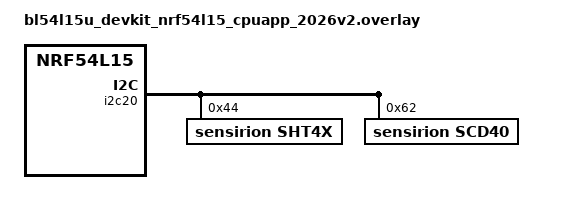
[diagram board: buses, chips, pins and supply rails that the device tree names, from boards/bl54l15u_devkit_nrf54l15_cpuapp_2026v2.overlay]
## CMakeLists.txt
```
cmake_minimum_required(VERSION 3.20.0)
list(APPEND BOARD_ROOT ${CMAKE_CURRENT_SOURCE_DIR}/..)
find_package(Zephyr HINTS $ENV{ZEPHYR_BASE})
project(airhub)

option(TIDY "Run clang-tidy during build" OFF)
if(TIDY)
  set_target_properties(app PROPERTIES
    C_CLANG_TIDY "clang-tidy"
    CXX_CLANG_TIDY "clang-tidy"
  )
endif()

target_include_directories(app PRIVATE src src/sensor)

target_sources(app PRIVATE
  src/main.cpp
  src/sensor/sensor_reading.cpp
)
```

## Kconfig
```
config APP_MEASUREMENT_INTERVAL_SEC
	int "Measurement interval (seconds)"
	default 30
	help
	  Time between periodic measurements. Device sleeps between readings.

source "Kconfig.zephyr"
```

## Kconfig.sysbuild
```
#### Bootloader
choice BOOTLOADER
	default BOOTLOADER_MCUBOOT
endchoice

if BOOTLOADER_MCUBOOT

config PM_OVERRIDE_EXTERNAL_DRIVER_CHECK
	default y

# MCUboot padding size
config PM_MCUBOOT_PAD
	default 0x800

endif # BOOTLOADER_MCUBOOT

source "share/sysbuild/Kconfig"
```

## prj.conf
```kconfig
# Application features
CONFIG_APP_MEASUREMENT_INTERVAL_SEC=30

# BLE
CONFIG_BT=y
CONFIG_BT_DEVICE_NAME="AirHub"
CONFIG_BT_PERIPHERAL=y

# PMIC support (nPM1304 on devkit)
CONFIG_MFD=y
CONFIG_REGULATOR=y

# Enable sensors and I2C bus
CONFIG_SENSOR=y
CONFIG_GPIO=y
CONFIG_I2C=y
CONFIG_SHT4X=y
CONFIG_SCD4X=y
CONFIG_FPU=y

# GRTC timer
CONFIG_NRF_GRTC_TIMER=y

# Suspend devices when the CPU goes into sleep
CONFIG_PM=y
CONFIG_PM_DEVICE=y
CONFIG_PM_DEVICE_RUNTIME=y

# Power down unused SRAM sections
CONFIG_RAM_POWER_DOWN_LIBRARY=y

# Safety
CONFIG_MPU_STACK_GUARD=y

# Memory footprint
CONFIG_HEAP_MEM_POOL_SIZE=1024
CONFIG_IDLE_STACK_SIZE=256

# MCUmgr OTA DFU over BLE
CONFIG_MCUMGR=y
CONFIG_MCUMGR_TRANSPORT_BT=y
CONFIG_MCUMGR_TRANSPORT_BT_REASSEMBLY=y
CONFIG_BT_L2CAP_TX_MTU=247
CONFIG_BT_BUF_ACL_TX_SIZE=251
CONFIG_BT_BUF_ACL_RX_SIZE=251
CONFIG_MCUMGR_GRP_IMG=y
CONFIG_MCUMGR_GRP_OS=y
CONFIG_MCUMGR_GRP_OS_BOOTLOADER_INFO=y
CONFIG_IMG_MANAGER=y
CONFIG_IMG_ERASE_PROGRESSIVELY=y
CONFIG_STREAM_FLASH=y
CONFIG_FLASH=y
CONFIG_FLASH_MAP=y
CONFIG_CRC=y
CONFIG_NET_BUF=y
CONFIG_ZCBOR=y
CONFIG_BOOTLOADER_MCUBOOT=y

# Stacks
CONFIG_MAIN_STACK_SIZE=4096
CONFIG_SYSTEM_WORKQUEUE_STACK_SIZE=2048

# Reduce image size
CONFIG_SIZE_OPTIMIZATIONS=y
CONFIG_LTO=y
CONFIG_ISR_TABLES_LOCAL_DECLARATION=y
```

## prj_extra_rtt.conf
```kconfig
# Kconfig overlay for logging via SEGGER RTT.
# Usage: west build -- -DEXTRA_CONF_FILE=prj_extra_rtt.conf -Dmcuboot_EXTRA_CONF=$PWD/sysbuild/mcuboot_extra_rtt.conf

CONFIG_USE_SEGGER_RTT=y
CONFIG_RTT_CONSOLE=y
CONFIG_CONSOLE=y
CONFIG_UART_CONSOLE=n

CONFIG_LOG=y
CONFIG_LOG_MODE_DEFERRED=y
CONFIG_LOG_PROCESS_THREAD_SLEEP_MS=10
CONFIG_LOG_BUFFER_SIZE=4096
CONFIG_SEGGER_RTT_BUFFER_SIZE_UP=4096
CONFIG_LOG_BACKEND_RTT=y

# Shell over RTT
CONFIG_SHELL=y
CONFIG_SHELL_BACKEND_RTT=y
CONFIG_SHELL_BACKEND_RTT_BUFFER=1
CONFIG_SHELL_BACKEND_SERIAL=n
```

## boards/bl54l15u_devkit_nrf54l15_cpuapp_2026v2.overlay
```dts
&i2c20 {
	sht4x: sht4x@44 {
		compatible = "sensirion,sht4x";
		reg = <0x44>;
		repeatability = <2>;
		status = "okay";
	};

	scd40: scd40@62 {
		compatible = "sensirion,scd40";
		reg = <0x62>;
		zephyr,deferred-init;
		status = "okay";
	};
};
```

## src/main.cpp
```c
// AirHub firmware — BTHome BLE build
//
// Reads SHT4x (temp + humidity) and SCD40 (CO2).
// Advertises all values over BTHome BLE.
//
// Simple loop architecture: always-on, always connectable, sleeps between readings.

#include <zephyr/bluetooth/bluetooth.h>
#include <zephyr/bluetooth/conn.h>
#include <zephyr/bluetooth/uuid.h>
#include <zephyr/device.h>
#include <zephyr/drivers/sensor.h>
#include <zephyr/kernel.h>
#include <ram_pwrdn.h>

#include <zephyr/logging/log.h>

#include "bthome.h"
#include "sensor/sensor_reading.h"

LOG_MODULE_REGISTER(app, LOG_LEVEL_INF);

/* SMP service UUID (8d53dc1d-1db7-4cd3-868b-8a527460aa84) in little-endian */
#define SMP_SVC_UUID_BYTES                                                                         \
	0x84, 0xaa, 0x60, 0x74, 0x52, 0x8a, 0x8b, 0x86, 0xd3, 0x4c, 0xb7, 0x1d, 0x1d, 0xdc, 0x53,  \
		0x8d

/* Connectable advertising parameters — ~4.0–4.5s interval to save power */
#define ADV_INT_MIN 0x1900 /* 4.0 s in 0.625 ms units */
#define ADV_INT_MAX 0x1C20 /* 4.5 s in 0.625 ms units */
#define ADV_PARAM_CONN                                                                             \
	BT_LE_ADV_PARAM(BT_LE_ADV_OPT_USE_IDENTITY | BT_LE_ADV_OPT_CONN, ADV_INT_MIN, ADV_INT_MAX, \
			NULL)

constexpr bt_data AD_FLAG_BYTES =
	BT_DATA_BYTES(BT_DATA_FLAGS, BT_LE_AD_GENERAL | BT_LE_AD_NO_BREDR);

/* Max service data: UUID(2) + info(1) + packet_id(2) + temp(3) + hum(3) + co2(3) */
#define SERVICE_DATA_MAX 16

static uint8_t service_data[SERVICE_DATA_MAX];
static size_t service_data_len;

static struct bt_data ad[] = {
	AD_FLAG_BYTES,
	BT_DATA(BT_DATA_SVC_DATA16, NULL, 0),
};

constexpr size_t BT_DATA_HEADER_LEN = 1;

static_assert(BT_DATA_HEADER_LEN * 2 + AD_FLAG_BYTES.data_len + sizeof(service_data) <=
	      BT_GAP_ADV_MAX_ADV_DATA_LEN);

/* Scan response — device name + SMP service UUID for DFU */
static struct bt_data sd[] = {
	BT_DATA(BT_DATA_NAME_COMPLETE, CONFIG_BT_DEVICE_NAME, sizeof(CONFIG_BT_DEVICE_NAME) - 1),
	BT_DATA_BYTES(BT_DATA_UUID128_ALL, SMP_SVC_UUID_BYTES),
};

static void bthome_update_service_data(uint8_t packet_id, opt_i16 temperature_cC,
				       opt_u16 humidity_cPct, opt_u16 co2_ppm)
{
	size_t idx = 0;

	/* UUID (little-endian) */
	service_data[idx++] = (uint8_t)(BTHOME_UUID & 0xFF);
	service_data[idx++] = (uint8_t)(BTHOME_UUID >> 8);
	/* Device info */
	service_data[idx++] = BTHOME_DEVICE_INFO;

	/* Packet ID: uint8, rolling counter */
	service_data[idx++] = BTHOME_OBJ_PACKET_ID;
	service_data[idx++] = packet_id;

	/* Temperature: sint16, factor 0.01 °C */
	if (temperature_cC.is_some) {
		service_data[idx++] = BTHOME_OBJ_TEMP;
		service_data[idx++] = (uint8_t)(temperature_cC.value & 0xFF);
		service_data[idx++] = (uint8_t)((temperature_cC.value >> 8) & 0xFF);
	}

	/* Humidity: uint16, factor 0.01 % */
	if (humidity_cPct.is_some) {
		service_data[idx++] = BTHOME_OBJ_HUMIDITY;
		service_data[idx++] = (uint8_t)(humidity_cPct.value & 0xFF);
		service_data[idx++] = (uint8_t)((humidity_cPct.value >> 8) & 0xFF);
	}

	/* CO2: uint16, factor 1 ppm */
	if (co2_ppm.is_some) {
		service_data[idx++] = BTHOME_OBJ_CO2;
		service_data[idx++] = (uint8_t)(co2_ppm.value & 0xFF);
		service_data[idx++] = (uint8_t)((co2_ppm.value >> 8) & 0xFF);
	}

	__ASSERT(idx <= SERVICE_DATA_MAX, "BTHome service data overflow");
	service_data_len = idx;
}

static void update_advertisement(uint8_t packet_id, opt_i16 temperature_cC, opt_u16 humidity_cPct,
				 opt_u16 co2_ppm)
{
	bthome_update_service_data(packet_id, temperature_cC, humidity_cPct, co2_ppm);
	ad[1] = (struct bt_data)BT_DATA(BT_DATA_SVC_DATA16, service_data,
					(uint8_t)service_data_len);
	bt_le_adv_update_data(ad, ARRAY_SIZE(ad), sd, ARRAY_SIZE(sd));
}

/* ---- BLE advertising via work queue ---- */
static struct k_work advertise_work;

static void advertise(struct k_work *work)
{
	int rc = bt_le_adv_start(ADV_PARAM_CONN, ad, ARRAY_SIZE(ad), sd, ARRAY_SIZE(sd));
	if (rc) {
		LOG_ERR("Advertising failed to start (rc %d)", rc);
		return;
	}
	LOG_INF("Advertising started");
}

static void bt_ready(int err)
{
	if (err) {
		LOG_ERR("Bluetooth init failed: %d", err);
		return;
	}
	k_work_submit(&advertise_work);
}

/* ---- BLE connection callbacks ---- */
static void connected(struct bt_conn *conn, uint8_t err)
{
	LOG_DBG("Connected");
}

static void disconnected(struct bt_conn *conn, uint8_t reason)
{
	LOG_DBG("Disconnected (reason %u)", reason);
}

static void recycled(void)
{
	LOG_DBG("BLE connection recycled");
	k_work_submit(&advertise_work);
}

BT_CONN_CB_DEFINE(conn_cbs) = {
	.connected = connected,
	.disconnected = disconnected,
	.recycled = recycled,
};

int main()
{
	power_down_unused_ram();

	LOG_INF("=== AirHub ===");

	sensor_state sensors;
	sensor_init(sensors);

	/* Start BLE advertising */
	k_work_init(&advertise_work, advertise);
	update_advertisement(0, opt_i16_none(), opt_u16_none(), opt_u16_none());
	int err = bt_enable(bt_ready);
	if (err) {
		LOG_ERR("Bluetooth init failed (err %d)", err);
		return -1;
	}

	uint32_t cycle = 0;

	while (true) {
		sensor_read_sht4x(sensors);
		sensor_read_scd40(sensors);

		update_advertisement(++cycle, {sensors.sht4x.temperature_cC, sensors.sht4x.valid},
				     {sensors.sht4x.humidity_cPct, sensors.sht4x.valid},
				     {sensors.scd40.co2_ppm, sensors.scd40.valid});

		k_sleep(K_SECONDS(CONFIG_APP_MEASUREMENT_INTERVAL_SEC));
	}

	return 0;
}
```

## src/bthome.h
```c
#ifndef BTHOME_H_
#define BTHOME_H_

#include <stdbool.h>
#include <stddef.h>
#include <stdint.h>

/* BTHome v2 constants */
#define BTHOME_UUID        0xFCD2
#define BTHOME_DEVICE_INFO 0x40 /* Unencrypted, BTHome v2 */

/* BTHome object IDs — must appear in ascending order in payload */
#define BTHOME_OBJ_PACKET_ID 0x00 /* uint8, rolling counter */
#define BTHOME_OBJ_TEMP      0x02 /* sint16, 0.01 °C */
#define BTHOME_OBJ_HUMIDITY  0x03 /* uint16, 0.01 % */
#define BTHOME_OBJ_CO2       0x12 /* uint16, 1 ppm */

typedef struct {
	int16_t value = 0;
	bool is_some = false;
} opt_i16;

static inline opt_i16 opt_i16_none()
{
	return (opt_i16){.value = 0, .is_some = false};
}

static inline opt_i16 opt_i16_some(int16_t value)
{
	return (opt_i16){.value = value, .is_some = true};
}

typedef struct {
	uint16_t value = 0;
	bool is_some = false;
} opt_u16;

static inline opt_u16 opt_u16_none()
{
	return (opt_u16){.value = 0, .is_some = false};
}

static inline opt_u16 opt_u16_some(uint16_t value)
{
	return (opt_u16){.value = value, .is_some = true};
}

#endif /* BTHOME_H_ */
```
